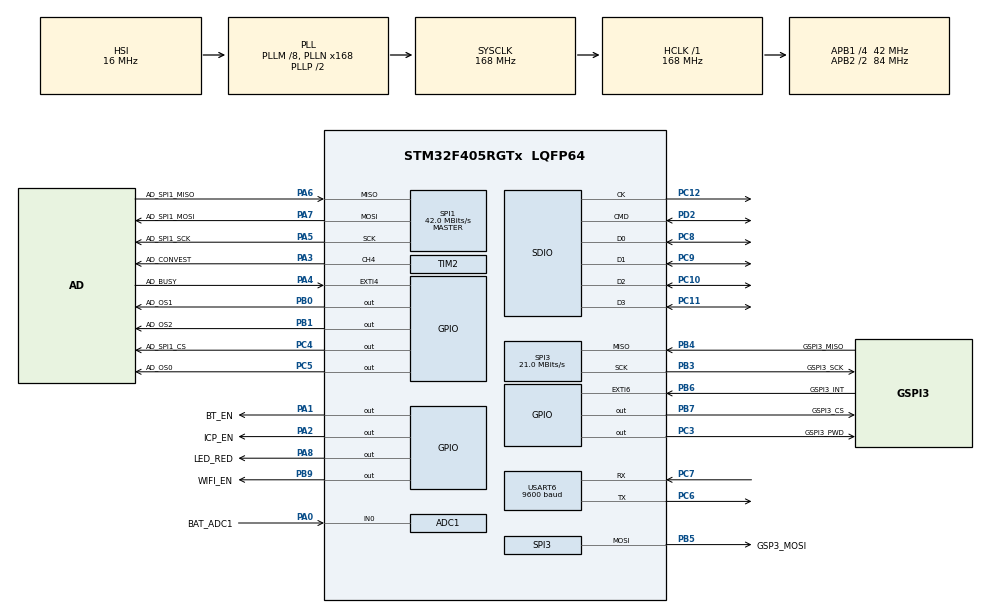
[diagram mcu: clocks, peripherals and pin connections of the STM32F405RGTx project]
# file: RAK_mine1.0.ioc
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ADC1.Channel-0\#ChannelRegularConversion=ADC_CHANNEL_0
ADC1.NbrOfConversionFlag=1
ADC1.Rank-0\#ChannelRegularConversion=1
ADC1.SamplingTime-0\#ChannelRegularConversion=ADC_SAMPLETIME_3CYCLES
ADC1.master=1
Dma.Request0=SPI1_RX
Dma.Request1=SPI1_TX
Dma.SPI1_RX.0.Direction=DMA_PERIPH_TO_MEMORY
Dma.SPI1_RX.0.FIFOMode=DMA_FIFOMODE_DISABLE
Dma.SPI1_RX.0.Instance=DMA2_Stream0
Dma.SPI1_RX.0.MemDataAlignment=DMA_MDATAALIGN_BYTE
Dma.SPI1_RX.0.MemInc=DMA_MINC_ENABLE
Dma.SPI1_RX.0.Mode=DMA_CIRCULAR
Dma.SPI1_RX.0.PeriphDataAlignment=DMA_PDATAALIGN_BYTE
Dma.SPI1_RX.0.PeriphInc=DMA_PINC_DISABLE
Dma.SPI1_RX.0.Priority=DMA_PRIORITY_HIGH
Dma.SPI1_TX.1.Direction=DMA_MEMORY_TO_PERIPH
Dma.SPI1_TX.1.FIFOMode=DMA_FIFOMODE_DISABLE
Dma.SPI1_TX.1.Instance=DMA2_Stream3
Dma.SPI1_TX.1.MemDataAlignment=DMA_MDATAALIGN_BYTE
Dma.SPI1_TX.1.MemInc=DMA_MINC_ENABLE
Dma.SPI1_TX.1.Mode=DMA_NORMAL
Dma.SPI1_TX.1.PeriphDataAlignment=DMA_PDATAALIGN_BYTE
Dma.SPI1_TX.1.PeriphInc=DMA_PINC_DISABLE
Dma.SPI1_TX.1.Priority=DMA_PRIORITY_HIGH
Mcu.Family=STM32F4
Mcu.Name=STM32F405RGTx
Mcu.Package=LQFP64
NVIC.DMA2_Stream0_IRQn=true\:0\:0\:false\:false\:true
NVIC.DMA2_Stream3_IRQn=true\:0\:0\:false\:false\:true
NVIC.EXTI4_IRQn=true\:2\:0\:true\:false\:true
NVIC.EXTI9_5_IRQn=true\:0\:0\:false\:false\:true
NVIC.PriorityGroup=NVIC_PRIORITYGROUP_4
NVIC.TIM8_TRG_COM_TIM14_IRQn=true\:0\:0\:false\:false\:true
NVIC.TimeBase=TIM8_TRG_COM_TIM14_IRQn
NVIC.TimeBaseIP=TIM14
NVIC.USART6_IRQn=true\:1\:0\:true\:false\:true
PA0-WKUP.GPIO_Label=BAT_ADC1
PA0-WKUP.Signal=ADCx_IN0
PA1.GPIO_Label=BT_EN
PA1.GPIO_PuPd=GPIO_PULLDOWN
PA1.GPIO_Speed=GPIO_SPEED_FREQ_HIGH
PA1.Signal=GPIO_Output
PA13.Mode=Serial_Wire
PA13.Signal=SYS_JTMS-SWDIO
PA14.Mode=Serial_Wire
PA14.Signal=SYS_JTCK-SWCLK
PA2.GPIO_Label=ICP_EN
PA2.GPIO_PuPd=GPIO_PULLDOWN
PA2.GPIO_Speed=GPIO_SPEED_FREQ_HIGH
PA2.Signal=GPIO_Output
PA3.GPIO_Label=AD_CONVEST
PA3.Signal=S_TIM2_CH4
PA4.GPIO_Label=AD_BUSY
PA4.Signal=GPXTI4
PA5.GPIO_Label=AD_SPI1_SCK
PA5.GPIO_PuPd=GPIO_NOPULL
PA5.Mode=Full_Duplex_Master
PA5.Signal=SPI1_SCK
PA6.GPIO_Label=AD_SPI1_MISO
PA6.GPIO_PuPd=GPIO_NOPULL
PA6.Mode=Full_Duplex_Master
PA6.Signal=SPI1_MISO
PA7.GPIO_Label=AD_SPI1_MOSI
PA7.GPIO_PuPd=GPIO_NOPULL
PA7.Mode=Full_Duplex_Master
PA7.Signal=SPI1_MOSI
PA8.GPIO_Label=LED_RED
PA8.GPIO_PuPd=GPIO_PULLUP
PA8.GPIO_Speed=GPIO_SPEED_FREQ_HIGH
PA8.Signal=GPIO_Output
PB0.GPIO_Label=AD_OS1
PB0.GPIO_PuPd=GPIO_PULLDOWN
PB0.GPIO_Speed=GPIO_SPEED_FREQ_HIGH
PB0.Signal=GPIO_Output
PB1.GPIO_Label=AD_OS2
PB1.GPIO_PuPd=GPIO_PULLDOWN
PB1.GPIO_Speed=GPIO_SPEED_FREQ_HIGH
PB1.Signal=GPIO_Output
PB3.GPIO_Label=GSPI3_SCK
PB3.GPIO_PuPd=GPIO_PULLUP
PB3.Mode=Full_Duplex_Master
PB3.Signal=SPI3_SCK
PB4.GPIO_Label=GSPI3_MISO
PB4.GPIO_PuPd=GPIO_PULLUP
PB4.Mode=Full_Duplex_Master
PB4.Signal=SPI3_MISO
PB5.GPIO_Label=GSP3_MOSI
PB5.GPIO_PuPd=GPIO_PULLUP
PB5.Mode=Full_Duplex_Master
PB5.Signal=SPI3_MOSI
PB6.GPIO_Label=GSPI3_INT
PB6.Signal=GPXTI6
PB7.GPIO_Label=GSPI3_CS
PB7.GPIO_PuPd=GPIO_PULLUP
PB7.GPIO_Speed=GPIO_SPEED_FREQ_HIGH
PB7.Signal=GPIO_Output
PB9.GPIO_Label=WIFI_EN
PB9.GPIO_PuPd=GPIO_PULLDOWN
PB9.GPIO_Speed=GPIO_SPEED_FREQ_HIGH
PB9.Signal=GPIO_Output
PC10.Mode=SD_4_bits_Wide_bus
PC10.Signal=SDIO_D2
PC11.Mode=SD_4_bits_Wide_bus
PC11.Signal=SDIO_D3
PC12.Mode=SD_4_bits_Wide_bus
PC12.Signal=SDIO_CK
PC14-OSC32_IN.Mode=LSE-External-Oscillator
PC14-OSC32_IN.Signal=RCC_OSC32_IN
PC15-OSC32_OUT.Mode=LSE-External-Oscillator
PC15-OSC32_OUT.Signal=RCC_OSC32_OUT
PC3.GPIO_Label=GSPI3_PWD
PC3.GPIO_PuPd=GPIO_PULLUP
PC3.GPIO_Speed=GPIO_SPEED_FREQ_HIGH
PC3.Signal=GPIO_Output
PC4.GPIO_Label=AD_SPI1_CS
PC4.GPIO_PuPd=GPIO_PULLUP
PC4.GPIO_Speed=GPIO_SPEED_FREQ_HIGH
PC4.Signal=GPIO_Output
PC5.GPIO_Label=AD_OS0
PC5.GPIO_PuPd=GPIO_PULLDOWN
PC5.GPIO_Speed=GPIO_SPEED_FREQ_HIGH
PC5.Signal=GPIO_Output
PC6.Mode=Asynchronous
PC6.Signal=USART6_TX
PC7.Mode=Asynchronous
PC7.Signal=USART6_RX
PC8.Mode=SD_4_bits_Wide_bus
PC8.Signal=SDIO_D0
PC9.Mode=SD_4_bits_Wide_bus
PC9.Signal=SDIO_D1
PD2.Mode=SD_4_bits_Wide_bus
PD2.Signal=SDIO_CMD
PH0-OSC_IN.Mode=HSE-External-Oscillator
PH0-OSC_IN.Signal=RCC_OSC_IN
PH1-OSC_OUT.Mode=HSE-External-Oscillator
PH1-OSC_OUT.Signal=RCC_OSC_OUT
ProjectManager.HeapSize=0x200
ProjectManager.StackSize=0x1000
ProjectManager.TargetToolchain=MDK-ARM V5
RCC.48MHZClocksFreq_Value=48000000
RCC.AHBFreq_Value=168000000
RCC.APB1CLKDivider=RCC_HCLK_DIV4
RCC.APB1Freq_Value=42000000
RCC.APB1TimFreq_Value=84000000
RCC.APB2CLKDivider=RCC_HCLK_DIV2
RCC.APB2Freq_Value=84000000
RCC.APB2TimFreq_Value=168000000
RCC.CortexFreq_Value=168000000
RCC.HCLKFreq_Value=168000000
RCC.HSE_VALUE=8000000
RCC.HSI_VALUE=16000000
RCC.PLLM=8
RCC.PLLN=168
RCC.PLLQ=7
RCC.SYSCLKFreq_VALUE=168000000
RCC.SYSCLKSource=RCC_SYSCLKSOURCE_PLLCLK
RCC.VCOOutputFreq_Value=336000000
RTC.Alarm=RTC_ALARM_A
SH.ADCx_IN0.0=ADC1_IN0,IN0
SH.S_TIM2_CH4.0=TIM2_CH4,PWM Generation4 CH4
SPI1.CLKPhase=SPI_PHASE_2EDGE
SPI1.CLKPolarity=SPI_POLARITY_HIGH
SPI1.CalculateBaudRate=42.0 MBits/s
SPI1.Direction=SPI_DIRECTION_2LINES
SPI1.Mode=SPI_MODE_MASTER
SPI1.VirtualType=VM_MASTER
SPI3.BaudRatePrescaler=SPI_BAUDRATEPRESCALER_2
SPI3.CLKPhase=SPI_PHASE_2EDGE
SPI3.CLKPolarity=SPI_POLARITY_HIGH
SPI3.CalculateBaudRate=21.0 MBits/s
SPI3.Direction=SPI_DIRECTION_2LINES
SPI3.Mode=SPI_MODE_MASTER
SPI3.VirtualType=VM_MASTER
TIM2.Channel-PWM\ Generation4\ CH4=TIM_CHANNEL_4
TIM2.Period=1200
TIM2.Prescaler=70-1
TIM2.Pulse-PWM\ Generation4\ CH4=600
USART6.BaudRate=9600
USART6.VirtualMode=VM_ASYNC
VP_FATFS_VS_SDIO.Mode=SDIO
VP_RTC_VS_RTC_Activate.Mode=RTC_Enabled
VP_RTC_VS_RTC_Alarm_A_Intern.Mode=Alarm A
VP_RTC_VS_RTC_Calendar.Mode=RTC_Calendar
VP_SYS_VS_tim14.Mode=TIM14
board=RAK_mine1.0

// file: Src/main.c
/**
  ******************************************************************************
  * File Name          : main.c
  * Description        : Main program body
  ******************************************************************************
  * This notice applies to any and all portions of this file
  * that are not between comment pairs USER CODE BEGIN and
  * USER CODE END. Other portions of this file, whether
  * inserted by the user or by software development tools
  * are owned by their respective copyright owners.
  *
  * Copyright (c) 2017 STMicroelectronics International N.V.
  * All rights reserved.
  *
  * Redistribution and use in source and binary forms, with or without
  * modification, are permitted, provided that the following conditions are met:
  *
  * 1. Redistribution of source code must retain the above copyright notice,
  *    this list of conditions and the following disclaimer.
  * 2. Redistributions in binary form must reproduce the above copyright notice,
  *    this list of conditions and the following disclaimer in the documentation
  *    and/or other materials provided with the distribution.
  * 3. Neither the name of STMicroelectronics nor the names of other
  *    contributors to this software may be used to endorse or promote products
  *    derived from this software without specific written permission.
  * 4. This software, including modifications and/or derivative works of this
  *    software, must execute solely and exclusively on microcontroller or
  *    microprocessor devices manufactured by or for STMicroelectronics.
  * 5. Redistribution and use of this software other than as permitted under
  *    this license is void and will automatically terminate your rights under
  *    this license.
  *
  * THIS SOFTWARE IS PROVIDED BY STMICROELECTRONICS AND CONTRIBUTORS "AS IS"
  * AND ANY EXPRESS, IMPLIED OR STATUTORY WARRANTIES, INCLUDING, BUT NOT
  * LIMITED TO, THE IMPLIED WARRANTIES OF MERCHANTABILITY, FITNESS FOR A
  * PARTICULAR PURPOSE AND NON-INFRINGEMENT OF THIRD PARTY INTELLECTUAL PROPERTY
  * RIGHTS ARE DISCLAIMED TO THE FULLEST EXTENT PERMITTED BY LAW. IN NO EVENT
  * SHALL STMICROELECTRONICS OR CONTRIBUTORS BE LIABLE FOR ANY DIRECT, INDIRECT,
  * INCIDENTAL, SPECIAL, EXEMPLARY, OR CONSEQUENTIAL DAMAGES (INCLUDING, BUT NOT
  * LIMITED TO, PROCUREMENT OF SUBSTITUTE GOODS OR SERVICES; LOSS OF USE, DATA,
  * OR PROFITS; OR BUSINESS INTERRUPTION) HOWEVER CAUSED AND ON ANY THEORY OF
  * LIABILITY, WHETHER IN CONTRACT, STRICT LIABILITY, OR TORT (INCLUDING
  * NEGLIGENCE OR OTHERWISE) ARISING IN ANY WAY OUT OF THE USE OF THIS SOFTWARE,
  * EVEN IF ADVISED OF THE POSSIBILITY OF SUCH DAMAGE.
  *
  ******************************************************************************
  */
#include "main.h"
#include "stm32f4xx_hal.h"
#include "adc.h"
#include "dma.h"
#include "fatfs.h"
#include "rtc.h"
#include "sdio.h"
#include "spi.h"
#include "tim.h"
#include "usart.h"
#include "gpio.h"

/* USER CODE BEGIN Includes */
#include "rw_app.h"
#include "AD7606.h"

//#include "lua.h"
//#include "lauxlib.h"
//#include "lualib.h"
#include "lua_test.h"
/* USER CODE END Includes */

/* USER CODE BEGIN PV */
/* Private variables ---------------------------------------------------------*/

/* USER CODE END PV */

void SystemClock_Config(void);

/* USER CODE BEGIN PFP */
/* Private function prototypes -----------------------------------------------*/

/* USER CODE END PFP */

/* USER CODE BEGIN 0 */
void fat_error_test(uint8_t ret);

int platform_init(void)
{
  rw_DriverParams_t     params;
  int                   ret =0;
  char                  libVersion[20]="";
  char                  module_mac[6] ="";

  //host_platformInit();
  DPRINTF("Host platform init...success\r\n");

  //rak module driver init
  wifi_init_params(&params);
  ret =rw_sysDriverInit(&params);
  if(ret != RW_OK)
  {
    DPRINTF("RAK module platform init...failed code=%d\r\n", ret);
    while(1){printf("ret=%d ",ret);HAL_Delay(1000);/*HAL_GPIO_WritePin(BT_EN_GPIO_Port,BT_EN_Pin,GPIO_PIN_SET);*/};
  }
  rw_getLibVersion(libVersion);
  DPRINTF("rak wifi LibVersion:%s\r\n", libVersion);
  rw_getMacAddr(module_mac);
  DPRINTF("rak wifi module-MAC:%02X:%02X:%02X:%02X:%02X:%02X\r\n", module_mac[0],module_mac[1],module_mac[2],module_mac[3],module_mac[4],module_mac[5]);

  return RW_OK;
}

//  @ fuction:
//  @ description:
//  @ input:
//  @ output:
//  @ note: 测试电池电压
void BAT_ADC_test(void){
	  uint16_t AD_value = 0;
	  float AD_transfer = 0;

		HAL_ADC_Start(&hadc1);
		HAL_ADC_PollForConversion(&hadc1,50);//等待转换完成
		if(HAL_IS_BIT_SET(HAL_ADC_GetState(&hadc1),HAL_ADC_STATE_EOC_REG)){
		AD_value = HAL_ADC_GetValue(&hadc1);
	  AD_transfer = AD_value*3.3/0xfff;
			printf("%d ADC=%fv ",AD_value,AD_transfer);
		}
		if(AD_transfer < 3.0f){
			HAL_GPIO_WritePin(BT_EN_GPIO_Port,BT_EN_Pin,GPIO_PIN_RESET);
			HAL_GPIO_WritePin(WIFI_EN_GPIO_Port,WIFI_EN_Pin,GPIO_PIN_RESET);
		 while(1){
		  HAL_GPIO_TogglePin(LED_RED_GPIO_Port,LED_RED_Pin);
		  HAL_Delay(5000);
			 printf("%d ADC=%fv ",AD_value,AD_transfer);
		 }
		}
}

void fat_test(void){
  FATFS fs;                 // Work area (file system object) for logical drive
	FIL fil;                  // file objects

	uint32_t byteswritten;                /* File write counts */
	uint32_t bytesread;                   /* File read counts */
	uint8_t wtext[] = "This is STM32 working with FatFs"; /* File write buffer */
	uint8_t rtext[100];                     /* File read buffers */
	char filename[] = "STM32cube.txt";

    printf("\r\n ****** FatFs Example ******\r\n\r\n");

    /*##-1- Register the file system object to the FatFs module ##############*/
    retSD = f_mount(&fs, "", 0);
    if(retSD)
    {
        printf(" mount error : %d \r\n",retSD);
        Error_Handler();
    }
    else
        printf(" mount sucess!!! \r\n");

    /*##-2- Create and Open new text file objects with write access ######*/
    retSD = f_open(&fil, filename, FA_CREATE_ALWAYS | FA_WRITE);
    if(retSD)
        //printf(" open file error : %d\r\n",retSD);
		fat_error_test(retSD);
    else
        printf(" open file sucess!!! \r\n");

    /*##-3- Write data to the text files ###############################*/
    retSD = f_write(&fil, wtext, sizeof(wtext), (void *)&byteswritten);
    if(retSD)
        //printf(" write file error : %d\r\n",retSD);
		fat_error_test(retSD);
    else
    {
        printf(" write file sucess!!! \r\n");
        printf(" write Data : %s\r\n",wtext);
    }

    /*##-4- Close the open text files ################################*/
    retSD = f_close(&fil);
    if(retSD)
        //printf(" close error : %d\r\n",retSD);
		fat_error_test(retSD);
    else
        printf(" close sucess!!! \r\n");

    /*##-5- Open the text files object with read access ##############*/
    retSD = f_open(&fil, filename, FA_READ);
    if(retSD)
        //printf(" open file error : %d\r\n",retSD);
		fat_error_test(retSD);
    else
        printf(" open file sucess!!! \r\n");

    /*##-6- Read data from the text files ##########################*/
    retSD = f_read(&fil, rtext, sizeof(rtext), (UINT*)&bytesread);
    if(retSD)
        //printf(" read error!!! %d\r\n",retSD);
		fat_error_test(retSD);
    else
    {
        printf(" read sucess!!! \r\n");
        printf(" read Data : %s\r\n",rtext);
    }

    /*##-7- Close the open text files ############################*/
    retSD = f_close(&fil);
    if(retSD)
        //printf(" close error!!! %d\r\n",retSD);
		fat_error_test(retSD);
    else
        printf(" close sucess!!! \r\n");

    /*##-8- Compare read data with the expected data ############*/
    if(bytesread == byteswritten)
    {
        printf(" FatFs is working well!!!\r\n");
    }
}

void fat_error_test(uint8_t ret){
  switch(ret){
		case FR_OK :
			printf("磁盘正常\r\n");
			break;
		case FR_INVALID_DRIVE:
			printf("驱动器无效\r\n");
			break;
		case FR_NOT_READY:
			printf("磁盘驱动器无法工作\r\n");
			break;
		case FR_DISK_ERR:
			printf("底层磁盘IO错误\r\n");
			break;
		case FR_NO_PATH:
			printf("找不到路径\r\n");
			break;
		case FR_INVALID_NAME:
			printf("文件名无效\r\n");
			break;
		case FR_NO_FILE:
			printf("找不到该文件\r\n");
			break;
		case FR_EXIST:
			printf("文件已存在\r\n");
			break;
		default:
			printf("其他错误%d\r\n",ret);
			break;
	}

}

/* USER CODE END 0 */

int main(void)
{

  /* USER CODE BEGIN 1 */
   int  		ret = 0;
	//uint16_t AD_value = 0;

  /* USER CODE END 1 */

  /* MCU Configuration----------------------------------------------------------*/

  /* Reset of all peripherals, Initializes the Flash interface and the Systick. */
  HAL_Init();

  /* Configure the system clock */
  SystemClock_Config();

  /* Initialize all configured peripherals */
  MX_GPIO_Init();
  MX_DMA_Init();
  MX_USART6_UART_Init();
  MX_ADC1_Init();
  MX_SPI3_Init();
  MX_SDIO_SD_Init();
  MX_TIM2_Init();
  MX_FATFS_Init();
  MX_RTC_Init();
  MX_SPI1_Init();

  /* USER CODE BEGIN 2 */
//	HAL_Delay(5000);//延长5s用于连接蓝牙
//	BAT_ADC_test();

   HAL_GPIO_WritePin(BT_EN_GPIO_Port,BT_EN_Pin,GPIO_PIN_SET);
	 HAL_GPIO_WritePin(WIFI_EN_GPIO_Port,WIFI_EN_Pin,GPIO_PIN_SET);
	 HAL_GPIO_WritePin(ICP_EN_GPIO_Port,ICP_EN_Pin,GPIO_PIN_SET);
	 AD_CONVEST_PWM_Init(10);//10kHz

	 //uint8_t ss[] = "sdf";

	 HAL_Delay(5000);//延长5s用于连接蓝牙
	 //BAT_ADC_test();//这样不打开电池开关，无法继续
	 platform_init();
	 rw_appdemo_context_init();

	 //rw_network_startSTA();
	 rw_network_startAP();//start AP
	 HAL_TIM_PWM_Start(&htim2, TIM_CHANNEL_4);
	 AD7606_Init();

	 lua_main_test();//测试lua脚本

	 //fat_test();//FAT无法工作，可能是硬件有问题
  /* USER CODE END 2 */

  /* Infinite loop */
  while (1)
  {

  /* USER CODE BEGIN 3 */
		HAL_GPIO_TogglePin(LED_RED_GPIO_Port,LED_RED_Pin);
		//HAL_GPIO_WritePin(LED_RED_GPIO_Port,LED_RED_Pin,GPIO_PIN_SET);
		//printf("ok ");
//		HAL_UART_Transmit(&huart6,ss,sizeof(*ss),3);
//		DPRINTF("ddd ");
//		HAL_ADC_Start(&hadc1);
//		HAL_ADC_PollForConversion(&hadc1,50);//等待转换完成
//		if(HAL_IS_BIT_SET(HAL_ADC_GetState(&hadc1),HAL_ADC_STATE_EOC_REG)){
//		AD_value = HAL_ADC_GetValue(&hadc1);
//			printf("%d ADC=%fv ",AD_value,AD_value*3.3/0xfff);
//		}
		HAL_Delay(1000);

		if((ret =rw_sysDriverLoop()) != RW_OK){
       DPRINTF("rw_sysDriverLoop error =%d\r\n", ret);
			HAL_GPIO_WritePin(LED_RED_GPIO_Port,LED_RED_Pin,GPIO_PIN_SET);
    }

    if (app_demo_ctx.rw_connect_status == STATUS_OK && app_demo_ctx.rw_ipquery_status == STATUS_OK) {
			RAK_TcpServer_EventHandle();
     //RAK_TcpClient_EventHandle();
    //  RAK_UdpServer_EventHandle();
    //  RAK_UdpClient_EventHandle();
    }
		else if (app_demo_ctx.rw_connect_status == STATUS_FAIL || app_demo_ctx.rw_ipquery_status == STATUS_FAIL) {
      DPRINTF("reconnect and ipquery...\r\n");
      rw_appdemo_context_init();
      rw_sysDriverReset();
      rw_network_init(&conn, DHCP_CLIENT, NULL);
    }

  }
  /* USER CODE END 3 */

}

/** System Clock Configuration
*/
void SystemClock_Config(void)
{

  RCC_OscInitTypeDef RCC_OscInitStruct;
  RCC_ClkInitTypeDef RCC_ClkInitStruct;
  RCC_PeriphCLKInitTypeDef PeriphClkInitStruct;

    /**Configure the main internal regulator output voltage
    */
  __HAL_RCC_PWR_CLK_ENABLE();

  __HAL_PWR_VOLTAGESCALING_CONFIG(PWR_REGULATOR_VOLTAGE_SCALE1);

    /**Initializes the CPU, AHB and APB busses clocks
    */
  RCC_OscInitStruct.OscillatorType = RCC_OSCILLATORTYPE_HSI|RCC_OSCILLATORTYPE_LSI;
  RCC_OscInitStruct.HSIState = RCC_HSI_ON;
  RCC_OscInitStruct.HSICalibrationValue = 16;
  RCC_OscInitStruct.LSIState = RCC_LSI_ON;
  RCC_OscInitStruct.PLL.PLLState = RCC_PLL_ON;
  RCC_OscInitStruct.PLL.PLLSource = RCC_PLLSOURCE_HSI;
  RCC_OscInitStruct.PLL.PLLM = 8;
  RCC_OscInitStruct.PLL.PLLN = 168;
  RCC_OscInitStruct.PLL.PLLP = RCC_PLLP_DIV2;
  RCC_OscInitStruct.PLL.PLLQ = 7;
  if (HAL_RCC_OscConfig(&RCC_OscInitStruct) != HAL_OK)
  {
    _Error_Handler(__FILE__, __LINE__);
  }

    /**Initializes the CPU, AHB and APB busses clocks
    */
  RCC_ClkInitStruct.ClockType = RCC_CLOCKTYPE_HCLK|RCC_CLOCKTYPE_SYSCLK
                              |RCC_CLOCKTYPE_PCLK1|RCC_CLOCKTYPE_PCLK2;
  RCC_ClkInitStruct.SYSCLKSource = RCC_SYSCLKSOURCE_PLLCLK;
  RCC_ClkInitStruct.AHBCLKDivider = RCC_SYSCLK_DIV1;
  RCC_ClkInitStruct.APB1CLKDivider = RCC_HCLK_DIV4;
  RCC_ClkInitStruct.APB2CLKDivider = RCC_HCLK_DIV2;

  if (HAL_RCC_ClockConfig(&RCC_ClkInitStruct, FLASH_LATENCY_5) != HAL_OK)
  {
    _Error_Handler(__FILE__, __LINE__);
  }

  PeriphClkInitStruct.PeriphClockSelection = RCC_PERIPHCLK_RTC;
  PeriphClkInitStruct.RTCClockSelection = RCC_RTCCLKSOURCE_LSI;
  if (HAL_RCCEx_PeriphCLKConfig(&PeriphClkInitStruct) != HAL_OK)
  {
    _Error_Handler(__FILE__, __LINE__);
  }

    /**Configure the Systick interrupt time
    */
  HAL_SYSTICK_Config(HAL_RCC_GetHCLKFreq()/1000);

    /**Configure the Systick
    */
  HAL_SYSTICK_CLKSourceConfig(SYSTICK_CLKSOURCE_HCLK);

  /* SysTick_IRQn interrupt configuration */
  HAL_NVIC_SetPriority(SysTick_IRQn, 0, 0);
}

void HAL_TIM_PeriodElapsedCallback(TIM_HandleTypeDef *htim)
{
  if (htim->Instance == TIM14) {
    HAL_IncTick();
  }
}

void _Error_Handler(char * file, int line)
{
  /* USER CODE BEGIN Error_Handler_Debug */
  /* User can add his own implementation to report the HAL error return state */
  while(1)
  {
		  HAL_GPIO_TogglePin(LED_RED_GPIO_Port,LED_RED_Pin);
		  HAL_Delay(10000);
  }
  /* USER CODE END Error_Handler_Debug */
}

#ifdef USE_FULL_ASSERT

/**
   * @brief Reports the name of the source file and the source line number
   * where the assert_param error has occurred.
   * @param file: pointer to the source file name
   * @param line: assert_param error line source number
   * @retval None
   */
void assert_failed(uint8_t* file, uint32_t line)
{
  /* USER CODE BEGIN 6 */
  /* User can add his own implementation to report the file name and line number,
    ex: printf("Wrong parameters value: file %s on line %d\r\n", file, line) */

	while(1){
		printf("Wrong parameters value: file %s on line %d\r\n", file, line);
		HAL_Delay(1000);
	}
  /* USER CODE END 6 */

}

#endif

/************************ (C) COPYRIGHT STMicroelectronics *****END OF FILE****/
